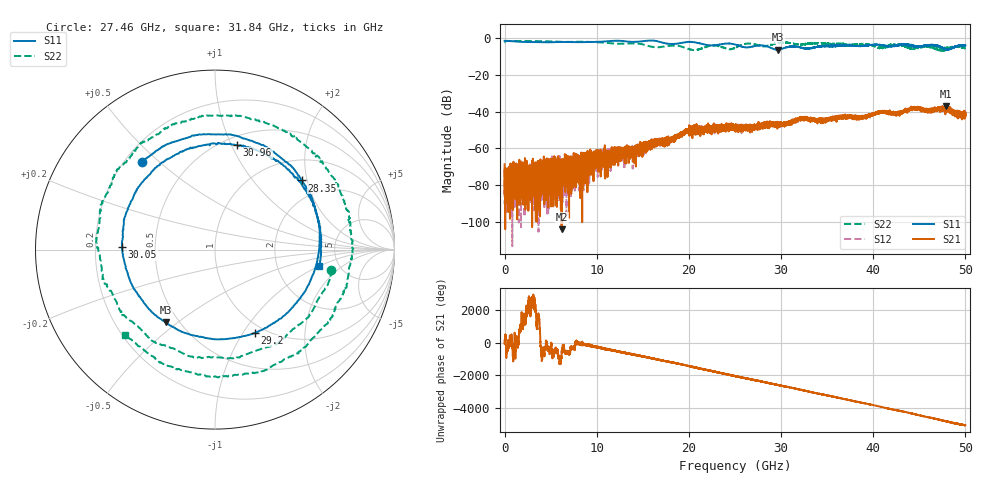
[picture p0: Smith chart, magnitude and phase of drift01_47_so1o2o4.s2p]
!Created with skrf (http://scikit-rf.org).
# Hz S RI R 50.0
!freq ReS11 ImS11 ReS21 ImS21 ReS12 ImS12 ReS22 ImS22
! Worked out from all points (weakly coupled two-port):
!   10001 points, 300 kHz to 50 GHz, reference 50 ohm
!   highest |S21| = -36.94 dB at 47.93 GHz (marker M1); lowest = -104.3 dB at 6.19 GHz (marker M2)
!   lowest |S11| = -6.2 dB at 29.62 GHz (marker M3), VSWR 2.91, Z = 21.3 - j22.7 ohm
!   |S11| at or under -10 dB: nowhere
!   |S22| runs from -6.8 to -1.4 dB; largest |S21 - S12| = 0.0039
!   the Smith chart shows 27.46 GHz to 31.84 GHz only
!   S11 on the Smith chart (normalised r, x): 27.46 GHz: 0.27, +0.44; 28.35 GHz: 1.49, +1.86; 29.2 GHz: 0.90, -1.13; 30.05 GHz: 0.32, +0.01; 30.96 GHz: 0.58, +1.05; 31.84 GHz: 3.55, -1.02
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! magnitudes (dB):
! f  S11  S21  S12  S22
! 300 kHz  -1.3  -68.7  -71.5  -2.1
! 300.3 MHz  -1.4  -74.4  -78.0  -1.4
! 6.19 GHz  -1.9  -104.3  -75.2  -1.8
! 8.335 GHz  -2.0  -69.5  -73.6  -1.8
! 11.95 GHz  -1.3  -69.1  -61.9  -2.8
! 14.12 GHz  -1.9  -67.5  -61.6  -2.8
! 16.67 GHz  -1.6  -57.3  -55.6  -4.8
! 20.6 GHz  -2.1  -51.9  -49.4  -6.4
! 22.6 GHz  -3.9  -48.6  -50.7  -3.8
! 25 GHz  -3.3  -48.4  -49.2  -5.1
! 27.46 GHz  -3.9  -48.8  -48.5  -3.7
! 28.35 GHz  -4.2  -47.3  -46.7  -4.2
! 29.2 GHz  -5.8  -47.3  -47.2  -3.1
! 29.62 GHz  -6.2  -46.7  -46.8  -2.5
! 30.05 GHz  -5.7  -46.5  -46.9  -2.3
! 30.96 GHz  -4.5  -45.8  -45.6  -2.5
! 31.84 GHz  -4.6  -45.5  -44.9  -3.2
! 33.34 GHz  -5.3  -44.0  -44.3  -2.6
! 41.67 GHz  -4.2  -40.4  -40.6  -4.4
! 46.52 GHz  -3.9  -39.4  -38.4  -5.1
! 47.93 GHz  -5.9  -36.9  -38.0  -4.8
! 50 GHz  -3.9  -41.1  -41.2  -5.4
